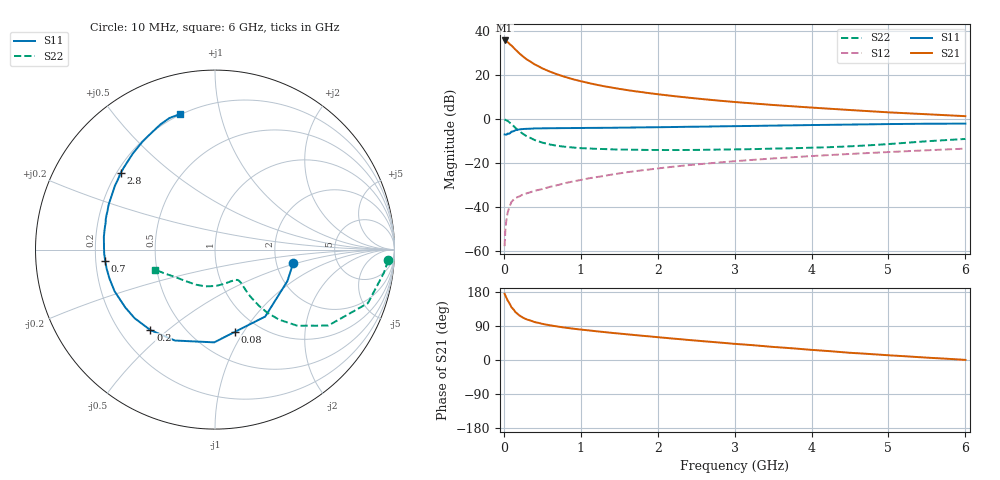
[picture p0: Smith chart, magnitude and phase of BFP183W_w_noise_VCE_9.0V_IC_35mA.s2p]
! Infineon Technologies  Discrete & RF Semiconductors
! BFP183W
! VCE =  9.0 V,  IC =  35 mA
! Common Emitter S-Parameters:  Jan 2017
# GHz  S  MA  R  50
!  f  S11  S21  S12  S22
! GHz  MAG  ANG  MAG  ANG  MAG  ANG  MAG  ANG
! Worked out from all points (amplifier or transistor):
!   77 points, 10 MHz to 6 GHz, reference 50 ohm
!   highest |S21| = 35.5 dB at 10 MHz (marker M1)
!   |S21| within 3 dB of that: start of sweep to 118.5 MHz
!   unconditionally stable (mu >= 1): 932.1 MHz to 3.37 GHz
!   at 130 MHz: K = 0.31, MSG = 34.3 dB, |S12| = -36.5 dB
!   at 2.2 GHz: K = 1.06, MAG = 14.6 dB, |S12| = -21.7 dB
!   at 6 GHz: K = 0.86, MSG = 7.4 dB, |S12| = -13.5 dB
!   lowest NFmin = 1.51 dB at 450 MHz
!   S11 on the Smith chart (normalised r, x): 10 MHz: 2.48, -0.47; 80 MHz: 0.77, -0.91; 200 MHz: 0.33, -0.44; 700 MHz: 0.24, -0.05; 2.8 GHz: 0.22, +0.34; 6 GHz: 0.20, +0.75
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0.01  0.4419 -9.9  59.83 175.0  0.0013 81.0  0.9667 -3.6
0.02  0.4399 -23.5  58.5 169.9  0.003 90.8  0.9499 -7.8
0.05  0.4662 -53.1  54.76 156.9  0.0075 73.9  0.9028 -19.3
0.08  0.472 -76.6  48.73 146.9  0.0109 65.0  0.8107 -27.4
0.1  0.5168 -90.5  45.69 139.0  0.0132 61.6  0.7601 -33.8
0.15  0.5538 -113.8  37.26 126.7  0.016 54.5  0.6261 -42.7
0.2  0.5751 -128.8  30.66 117.9  0.0174 51.2  0.5279 -47.6
0.25  0.5888 -139.5  25.84 111.5  0.0194 48.5  0.4545 -50.4
0.3  0.5947 -147.1  22.14 106.9  0.0205 49.1  0.4005 -51.9
0.4  0.6058 -157.5  17.19 100.1  0.0234 50.6  0.331 -53.0
0.5  0.6097 -164.6  13.95 95.4  0.0256 52.8  0.2893 -52.9
0.6  0.6131 -170.1  11.74 91.5  0.0288 54.3  0.2619 -52.5
0.7  0.6151 -174.3  10.1 88.3  0.0315 57.5  0.2437 -52.0
0.9  0.6187 178.7  7.889 82.7  0.0381 59.1  0.2237 -52.2
1.1  0.6234 173.4  6.498 78.2  0.0447 61.3  0.2133 -53.1
1.5  0.6318 164.4  4.782 69.8  0.0579 62.5  0.2013 -57.2
2.1  0.649 152.7  3.451 58.4  0.0786 62.1  0.1965 -68.7
2.8  0.6764 141.1  2.584 46.1  0.1026 59.3  0.2013 -86.6
3.1  0.6864 136.6  2.336 41.2  0.1129 57.8  0.2041 -94.5
4.1  0.7269 122.9  1.755 25.3  0.1466 52.0  0.2242 -121.1
5.1  0.7639 112.5  1.376 11.3  0.18 45.7  0.276 -147.3
6  0.7799 104.6  1.15 0.3  0.2111 39.5  0.3503 -161.3
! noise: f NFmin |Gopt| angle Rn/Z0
0.45  1.51  0.29  -177  0.1
0.9  1.56  0.32  -176  0.1
1.9  2.05  0.47  -154  0.11
2.4  2.31  0.51  -151  0.16
